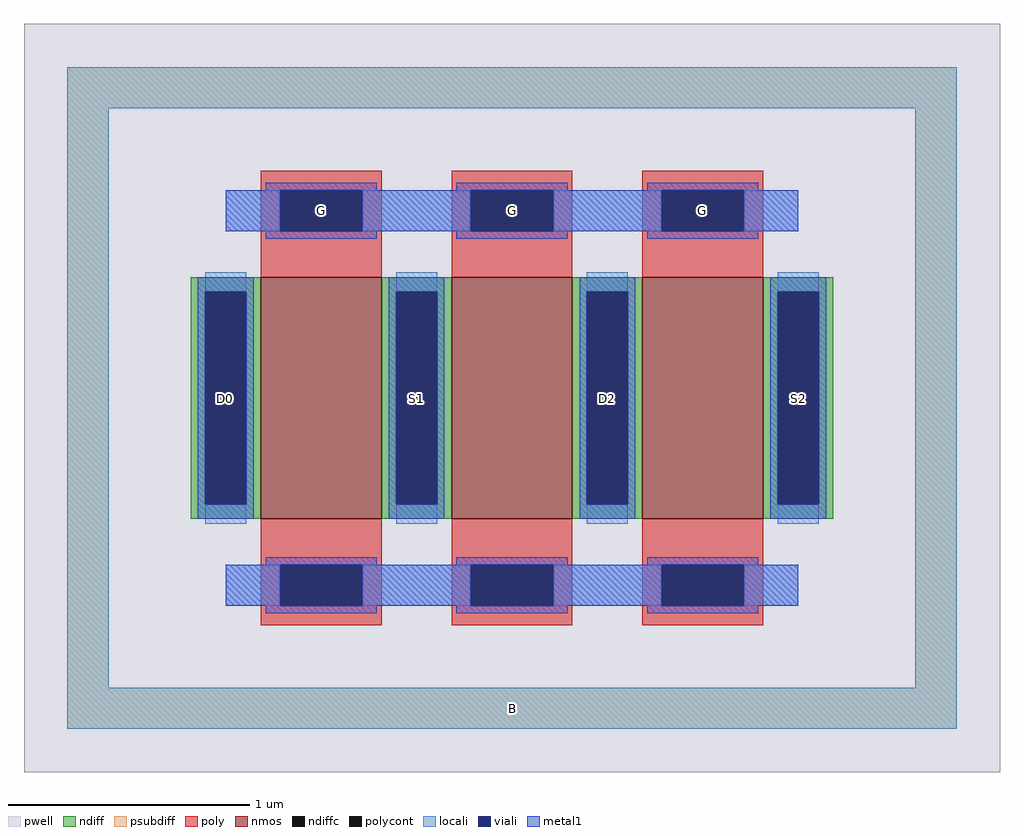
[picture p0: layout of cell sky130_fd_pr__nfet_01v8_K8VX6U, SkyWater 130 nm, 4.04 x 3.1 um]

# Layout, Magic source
magic
tech sky130A
magscale 1 2
<< pwell >>
rect -404 -310 404 310
<< nmos >>
rect -208 -100 -108 100
rect -50 -100 50 100
rect 108 -100 208 100
<< ndiff >>
rect -266 88 -208 100
rect -266 -88 -254 88
rect -220 -88 -208 88
rect -266 -100 -208 -88
rect -108 88 -50 100
rect -108 -88 -96 88
rect -62 -88 -50 88
rect -108 -100 -50 -88
rect 50 88 108 100
rect 50 -88 62 88
rect 96 -88 108 88
rect 50 -100 108 -88
rect 208 88 266 100
rect 208 -88 220 88
rect 254 -88 266 88
rect 208 -100 266 -88
<< ndiffc >>
rect -254 -88 -220 88
rect -96 -88 -62 88
rect 62 -88 96 88
rect 220 -88 254 88
<< psubdiff >>
rect -368 240 368 274
rect -368 -240 -334 240
rect 334 -240 368 240
rect -368 -274 368 -240
<< poly >>
rect -208 172 -108 188
rect -208 138 -192 172
rect -124 138 -108 172
rect -208 100 -108 138
rect -50 172 50 188
rect -50 138 -34 172
rect 34 138 50 172
rect -50 100 50 138
rect 108 172 208 188
rect 108 138 124 172
rect 192 138 208 172
rect 108 100 208 138
rect -208 -138 -108 -100
rect -208 -172 -192 -138
rect -124 -172 -108 -138
rect -208 -188 -108 -172
rect -50 -138 50 -100
rect -50 -172 -34 -138
rect 34 -172 50 -138
rect -50 -188 50 -172
rect 108 -138 208 -100
rect 108 -172 124 -138
rect 192 -172 208 -138
rect 108 -188 208 -172
<< polycont >>
rect -192 138 -124 172
rect -34 138 34 172
rect 124 138 192 172
rect -192 -172 -124 -138
rect -34 -172 34 -138
rect 124 -172 192 -138
<< locali >>
rect -368 240 368 274
rect -368 -240 -334 240
rect -237 138 -192 172
rect -124 138 -34 172
rect 34 138 124 172
rect 192 138 237 172
rect -254 88 -220 104
rect -254 -104 -220 -88
rect -96 88 -62 104
rect -96 -104 -62 -88
rect 62 88 96 104
rect 62 -104 96 -88
rect 220 88 254 104
rect 220 -104 254 -88
rect -237 -172 -192 -138
rect -124 -172 -34 -138
rect 34 -172 124 -138
rect 192 -172 237 -138
rect 334 -240 368 240
rect -368 -274 368 -240
<< viali >>
rect -192 138 -124 172
rect -34 138 34 172
rect 124 138 192 172
rect -254 -88 -220 88
rect -96 -88 -62 88
rect 62 -88 96 88
rect 220 -88 254 88
rect -192 -172 -124 -138
rect -34 -172 34 -138
rect 124 -172 192 -138
<< metal1 >>
rect -204 172 -112 178
rect -46 172 46 178
rect 112 172 204 178
rect -237 138 -192 172
rect -124 138 -34 172
rect 34 138 124 172
rect 192 138 237 172
rect -204 132 -112 138
rect -46 132 46 138
rect 112 132 204 138
rect -260 88 -214 100
rect -260 -88 -254 88
rect -220 -88 -214 88
rect -260 -100 -214 -88
rect -102 88 -56 100
rect -102 -88 -96 88
rect -62 -88 -56 88
rect -102 -100 -56 -88
rect 56 88 102 100
rect 56 -88 62 88
rect 96 -88 102 88
rect 56 -100 102 -88
rect 214 88 260 100
rect 214 -88 220 88
rect 254 -88 260 88
rect 214 -100 260 -88
rect -204 -138 -112 -132
rect -46 -138 46 -132
rect 112 -138 204 -132
rect -237 -172 -192 -138
rect -124 -172 -34 -138
rect 34 -172 124 -138
rect 192 -172 237 -138
rect -204 -178 -112 -172
rect -46 -178 46 -172
rect 112 -178 204 -172
<< labels >>
rlabel psubdiff 0 -257 0 -257 0 B
port 1 nsew
rlabel ndiffc -237 0 -237 0 0 D0
port 2 nsew
rlabel polycont -158 155 -158 155 0 G
port 3 nsew
rlabel ndiffc -79 0 -79 0 0 S1
port 4 nsew
rlabel polycont 0 155 0 155 0 G
port 3 nsew
rlabel ndiffc 79 0 79 0 0 D2
port 5 nsew
rlabel ndiffc 237 0 237 0 0 S2
port 6 nsew
rlabel polycont 158 155 158 155 0 G
port 3 nsew
<< properties >>
string FIXED_BBOX -351 -257 351 257
string gencell sky130_fd_pr__nfet_01v8
string library sky130
string parameters w 1 l 0.5 m 1 nf 3 diffcov 100 polycov 100 guard 1 glc 0 grc 0 gtc 0 gbc 0 tbcov 100 rlcov 100 topc 1 botc 1 poverlap 0 doverlap 1 lmin 0.15 wmin 0.42 class mosfet compatible {sky130_fd_pr__nfet_01v8 sky130_fd_pr__nfet_01v8_lvt  sky130_fd_bs_flash__special_sonosfet_star  sky130_fd_pr__nfet_g5v0d10v5 sky130_fd_pr__nfet_05v0_nvt  sky130_fd_pr__nfet_03v3_nvt} full_metal 1 conn_gates 1 viasrc 100 viadrn 100 viagate 100 viagb 0 viagr 0 viagl 0 viagt 0 doports 1
<< end >>
